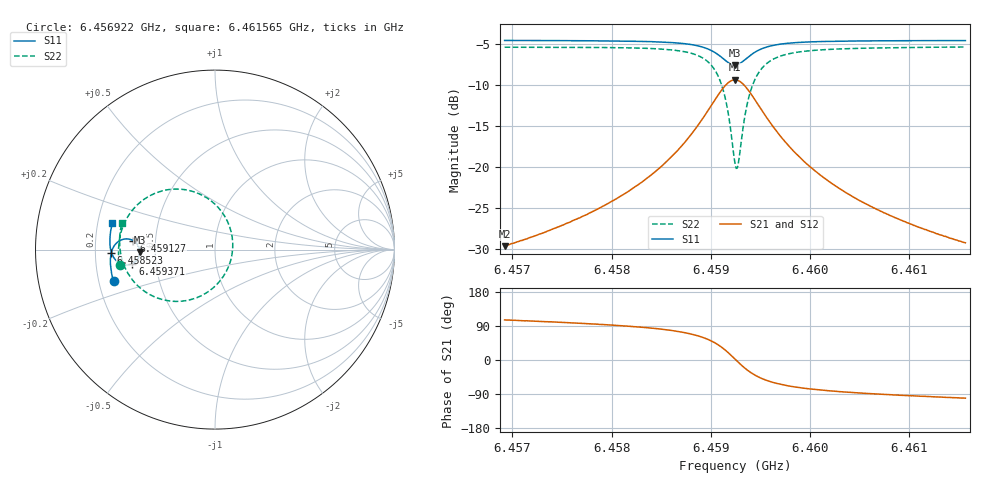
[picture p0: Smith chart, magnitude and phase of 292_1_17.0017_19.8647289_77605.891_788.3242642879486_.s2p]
#  HZ  S  RI  R  50.00
! Rohde & Schwarz Vector Network Analyzer
! Rohde-Schwarz,ZNB20-2Port,1311601062101988,3.16
! Created: UTC 3/20/2024, 11:05:08 PM
! freq[Hz]  re:S11  im:S11  re:S21  im:S21  re:S12  im:S12  re:S22  im:S22
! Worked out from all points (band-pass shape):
!   401 points, 6.456922 GHz to 6.461565 GHz, reference 50 ohm
!   highest |S21| = -9.35 dB at 6.459243 GHz (marker M1); lowest = -29.6 dB at 6.456922 GHz (marker M2)
!   |S21| within 3 dB of the highest: 6.459011 GHz to 6.459475 GHz (464 kHz wide, 0.00718 % of centre)
!   lowest |S11| = -7.6 dB at 6.459243 GHz (marker M3), VSWR 2.44, Z = 20.5 - j0.638 ohm
!   |S11| at or under -10 dB: nowhere
!   |S22| runs from -20.1 to -5.3 dB; largest |S21 - S12| = 0.013
!   S11 on the Smith chart (normalised r, x): 6.456922 GHz: 0.26, -0.14; 6.458523 GHz: 0.27, -0.01; 6.459127 GHz: 0.37, +0.05; 6.459371 GHz: 0.37, -0.07; 6.461565 GHz: 0.26, +0.12
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6.4569216e9  -0.5652 -0.1769  -0.00902 0.0318  -0.00715 0.032  -0.5317 -0.086
6.4576993e9  -0.5799 -0.1091  -0.00579 0.0497  -0.00327 0.049  -0.5374 0.00388
6.458152e9  -0.5831 -0.0637  0.000635 0.0702  0.00381 0.0689  -0.5288 0.0749
6.458477e9  -0.5797 -0.0249  0.0136 0.0974  0.0175 0.0947  -0.5048 0.1477
6.4585235e9  -0.5783 -0.0185  0.017 0.1028  0.0209 0.0999  -0.4985 0.1604
6.4587324e9  -0.5662 0.0134  0.0427 0.1341  0.0469 0.1296  -0.4505 0.2311
6.4588833e9  -0.5451 0.0397  0.0848 0.1643  0.0881 0.1578  -0.3731 0.2943
6.4590342e9  -0.4992 0.0596  0.1756 0.1832  0.1766 0.1758  -0.2082 0.3372
6.4591271e9  -0.4549 0.0498  0.2646 0.1525  0.2649 0.1464  -0.0448 0.2876
6.4591735e9  -0.4337 0.031  0.3079 0.1101  0.309 0.1046  0.0363 0.2124
6.4592431e9  -0.419 -0.0128  0.3407 0.0143  0.344 0.00724  0.099 0.0359
6.4592548e9  -0.4195 -0.0208  0.3405 -0.00317  0.344 -0.011  0.0984 0.003
6.459278e9  -0.4229 -0.0363  0.3349 -0.0375  0.3384 -0.0465  0.0873 -0.0614
6.459336e9  -0.4434 -0.0671  0.2971 -0.1084  0.2982 -0.1206  0.011 -0.1934
6.4593708e9  -0.4602 -0.0783  0.2653 -0.137  0.2641 -0.1497  -0.0532 -0.2443
6.4594637e9  -0.5032 -0.0851  0.1816 -0.1676  0.1756 -0.1787  -0.2182 -0.2886
6.4596146e9  -0.5468 -0.0649  0.0951 -0.1541  0.0868 -0.16  -0.3816 -0.2397
6.4597887e9  -0.5693 -0.0353  0.0489 -0.125  0.0414 -0.1274  -0.4634 -0.1644
6.4600209e9  -0.581 -0.00172  0.022 -0.0958  0.0164 -0.0962  -0.5068 -0.088
6.4603807e9  -0.5857 0.0406  0.00602 -0.0687  0.002 -0.0681  -0.5279 -0.00784
6.4607986e9  -0.5839 0.0824  -0.00136 -0.0511  -0.00414 -0.0502  -0.5315 0.0577
6.4615647e9  -0.5718 0.1502  -0.00647 -0.0341  -0.00805 -0.0332  -0.5199 0.1469
